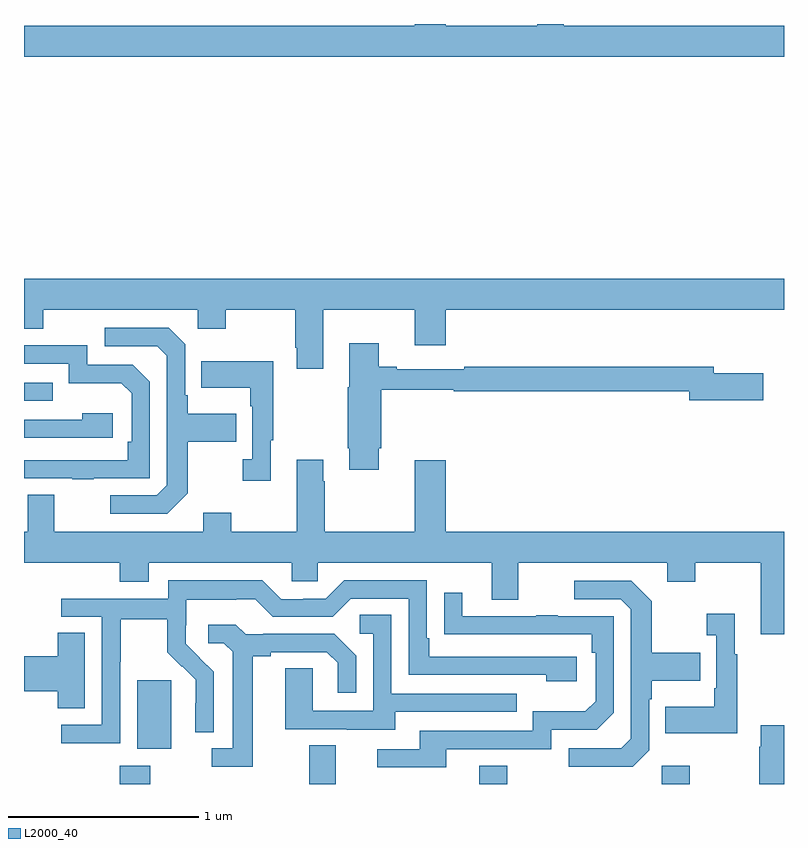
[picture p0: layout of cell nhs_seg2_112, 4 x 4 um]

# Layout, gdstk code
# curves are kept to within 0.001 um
import gdstk
lib = gdstk.Library(unit=1e-6, precision=1e-09)
def R(c, l, rs):  # rectangles x0, y0, x1, y1
    for r in rs: c.add(gdstk.rectangle(r[:2], r[2:], *l))
def P(c, l, *ps):  # polygons
    for p in ps: c.add(gdstk.Polygon(p, *l))
L2000_40 = (2000, 40)

nhs_seg2_112 = lib.new_cell('nhs_seg2_112')
R(nhs_seg2_112, L2000_40, [(115.505,651.8,115.665,651.895), (116.501,651.8,116.641,652.004), (117.395,651.8,117.543,651.895), (118.356,651.8,118.503,651.895), (115.595,651.986,115.774,652.347), (115,653.817,115.151,653.913)])
P(nhs_seg2_112, L2000_40, [(119,655.792),(117.841,655.792),(117.841,655.8),(117.701,655.8),(117.701,655.792),(117.22,655.792),(117.22,655.8),(117.056,655.8),(117.056,655.792),(115,655.792),(115,655.628),(119,655.628)],
  [(116.575,654.296),(117.056,654.296),(117.056,654.108),(117.22,654.108),(117.22,654.296),(119,654.296),(119,654.46),(115,654.46),(115,654.197),(115.101,654.197),(115.101,654.296),(115.914,654.296),(115.914,654.197),(116.061,654.197),(116.061,654.296),(116.428,654.296),(116.428,654.097),(116.435,654.097),(116.435,653.985),(116.575,653.985)],
  [(115.861,653.329),(115.861,653.602),(116.117,653.602),(116.117,653.749),(115.861,653.749),(115.861,653.845),(115.848,653.845),(115.848,654.114),(115.761,654.201),(115.425,654.201),(115.425,654.105),(115.701,654.105),(115.752,654.054),(115.752,653.373),(115.698,653.319),(115.455,653.319),(115.455,653.223),(115.755,653.223)],
  [(116.866,653.566),(116.879,653.566),(116.879,653.874),(117.262,653.874),(117.262,653.866),(118.502,653.866),(118.502,653.819),(118.891,653.819),(118.891,653.961),(118.63,653.961),(118.63,653.995),(117.316,653.995),(117.316,653.982),(116.962,653.982),(116.962,653.995),(116.866,653.995),(116.866,654.121),(116.711,654.121),(116.711,653.889),(116.704,653.889),(116.704,653.566),(116.711,653.566),(116.711,653.454),(116.866,653.454)],
  [(115.367,653.409),(115.662,653.409),(115.662,653.916),(115.572,654.006),(115.332,654.006),(115.332,654.108),(115,654.108),(115,654.012),(115.236,654.012),(115.236,653.909),(115.513,653.909),(115.566,653.856),(115.566,653.602),(115.546,653.602),(115.546,653.505),(115,653.505),(115,653.409),(115.255,653.409),(115.255,653.404),(115.367,653.404)],
  [(116.299,653.609),(116.311,653.609),(116.311,654.025),(115.933,654.025),(115.933,653.885),(116.19,653.885),(116.19,653.789),(116.202,653.789),(116.202,653.51),(116.151,653.51),(116.151,653.397),(116.299,653.397)],
  [(115.468,653.752),(115.307,653.752),(115.307,653.718),(115,653.718),(115,653.622),(115.468,653.622)],
  [(119,653.128),(117.22,653.128),(117.22,653.503),(117.056,653.503),(117.056,653.128),(116.583,653.128),(116.583,653.393),(116.575,653.393),(116.575,653.506),(116.435,653.506),(116.435,653.128),(116.091,653.128),(116.091,653.227),(115.943,653.227),(115.943,653.128),(115.159,653.128),(115.159,653.323),(115.019,653.323),(115.019,653.128),(115,653.128),(115,652.964),(115.505,652.964),(115.505,652.865),(115.657,652.865),(115.657,652.964),(116.409,652.964),(116.409,652.866),(116.547,652.866),(116.547,652.964),(117.461,652.964),(117.461,652.77),(117.601,652.77),(117.601,652.964),(118.385,652.964),(118.385,652.865),(118.533,652.865),(118.533,652.964),(118.877,652.964),(118.877,652.587),(119,652.587)],
  [(115.506,652.444),(115.509,652.444),(115.509,652.668),(115.753,652.668),(115.753,652.493),(115.83,652.416),(115.833,652.419),(115.904,652.349),(115.904,652.226),(115.902,652.226),(115.902,652.072),(115.998,652.072),(115.998,652.39),(115.852,652.538),(115.852,652.635),(115.854,652.635),(115.854,652.769),(116.117,652.769),(116.117,652.773),(116.217,652.773),(116.31,652.68),(116.625,652.68),(116.721,652.776),(117.024,652.776),(117.024,652.374),(117.749,652.374),(117.749,652.34),(117.91,652.34),(117.91,652.47),(117.133,652.47),(117.133,652.567),(117.12,652.567),(117.12,652.872),(116.685,652.872),(116.589,652.776),(116.471,652.776),(116.471,652.773),(116.355,652.773),(116.255,652.873),(115.758,652.873),(115.758,652.776),(115.197,652.776),(115.197,652.68),(115.41,652.68),(115.41,652.113),(115.197,652.113),(115.197,652.015),(115.506,652.015)],
  [(118.29,651.978),(118.29,652.247),(118.303,652.247),(118.303,652.343),(118.559,652.343),(118.559,652.491),(118.303,652.491),(118.303,652.763),(118.197,652.869),(117.897,652.869),(117.897,652.773),(118.14,652.773),(118.194,652.719),(118.194,652.038),(118.143,651.987),(117.867,651.987),(117.867,651.891),(118.203,651.891)],
  [(117.223,651.984),(117.774,651.984),(117.774,652.086),(118.014,652.086),(118.104,652.176),(118.104,652.683),(117.809,652.683),(117.809,652.688),(117.697,652.688),(117.697,652.683),(117.307,652.683),(117.307,652.807),(117.211,652.807),(117.211,652.588),(117.988,652.587),(117.988,652.49),(118.008,652.49),(118.008,652.236),(117.955,652.183),(117.678,652.183),(117.678,652.08),(117.083,652.08),(117.083,651.984),(116.859,651.984),(116.859,651.888),(117.223,651.888)],
  [(118.753,652.483),(118.741,652.483),(118.741,652.696),(118.593,652.696),(118.593,652.583),(118.644,652.583),(118.644,652.303),(118.632,652.303),(118.632,652.207),(118.375,652.207),(118.375,652.067),(118.753,652.067)],
  [(116.953,652.179),(117.593,652.179),(117.593,652.275),(116.934,652.275),(116.934,652.691),(116.766,652.691),(116.766,652.59),(116.838,652.59),(116.838,652.185),(116.52,652.185),(116.52,652.409),(116.375,652.409),(116.375,652.089),(116.699,652.089),(116.699,652.085),(116.953,652.085)],
  [(116.203,652.472),(116.299,652.472),(116.299,652.494),(116.594,652.494),(116.651,652.437),(116.651,652.281),(116.748,652.281),(116.748,652.474),(116.632,652.59),(116.26,652.59),(116.26,652.587),(116.166,652.587),(116.114,652.639),(115.971,652.639),(115.971,652.542),(116.052,652.542),(116.099,652.495),(116.099,651.987),(115.989,651.987),(115.989,651.891),(116.203,651.891)],
  [(115.321,652.595),(115.178,652.595),(115.178,652.472),(115,652.472),(115,652.289),(115.178,652.289),(115.178,652.198),(115.321,652.198)],
  [(119,652.108),(118.877,652.108),(118.877,651.995),(118.87,651.995),(118.87,651.8),(119,651.8)])

lib.write_gds('nhs_seg2_112.gds')
